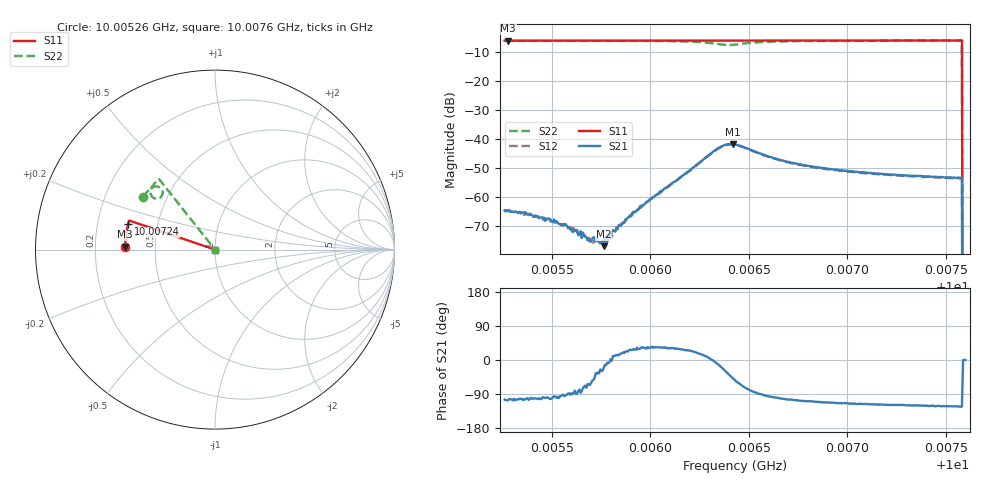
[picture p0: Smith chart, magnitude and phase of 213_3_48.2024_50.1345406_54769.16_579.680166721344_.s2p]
#  HZ  S  RI  R  50.00
! Rohde & Schwarz Vector Network Analyzer
! Rohde-Schwarz,ZNB20-2Port,1311601062101988,3.16
! Created: UTC 3/20/2024, 11:45:38 AM
! freq[Hz]  re:S11  im:S11  re:S21  im:S21  re:S12  im:S12  re:S22  im:S22
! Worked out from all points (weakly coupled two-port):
!   401 points, 10.00526 GHz to 10.0076 GHz, reference 50 ohm
!   highest |S21| = -41.61 dB at 10.00642 GHz (marker M1); lowest = -76.8 dB at 10.00576 GHz (marker M2)
!   lowest |S11| = -6.0 dB at 10.00528 GHz (marker M3), VSWR 3.00, Z = 16.7 + j0.693 ohm
!   |S11| at or under -10 dB: 10.00758 GHz to end of sweep
!   |S22| runs from - to -6.0 dB; largest |S21 - S12| = 0.00052
!   S11 on the Smith chart (normalised r, x): 10.00526 GHz: 0.33, +0.01; 10.00724 GHz: 0.34, +0.13; 10.0076 GHz: 1.00, +0.00
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1.0005261e10  -0.5 0.0145  -0.000151 -0.00058  -0.000108 -0.000586  -0.3997 0.2933
1.0005278e10  -0.4999 0.0156  -0.000168 -0.000572  -0.000136 -0.000562  -0.3988 0.2943
1.0005483e10  -0.4998 0.0291  -7.13e-05 -0.000426  -7.65e-05 -0.000436  -0.3903 0.3067
1.0005565e10  -0.4996 0.0343  -3.24e-05 -0.000336  -3.31e-05 -0.000347  -0.3865 0.3116
1.0005652e10  -0.4994 0.0399  2.84e-05 -0.000197  4.42e-05 -0.00024  -0.3823 0.3168
1.0005688e10  -0.4993 0.0423  8.01e-05 -0.000163  0.000102 -0.000174  -0.3806 0.3191
1.0005705e10  -0.4994 0.0434  0.000109 -0.000154  0.000114 -0.000139  -0.3798 0.3202
1.0005752e10  -0.499 0.0464  0.000148 -8.28e-05  0.000146 -8.38e-05  -0.3771 0.3231
1.0005764e10  -0.499 0.047  0.000135 -5.24e-05  0.000165 -6.78e-05  -0.3765 0.3238
1.000581e10  -0.4987 0.0501  0.000269 4.85e-05  0.000223 2.07e-05  -0.3738 0.3268
1.000584e10  -0.4987 0.0521  0.000326 6.95e-05  0.000285 0.000103  -0.372 0.3287
1.000588e10  -0.4984 0.0548  0.00039 0.000169  0.000379 0.000184  -0.3692 0.3314
1.0006044e10  -0.4974 0.0653  0.00101 0.000663  0.000931 0.000676  -0.3558 0.3428
1.0006336e10  -0.4946 0.0841  0.00671 -0.00098  0.00661 -0.000644  -0.2932 0.3284
1.0006418e10  -0.4939 0.0886  0.00555 -0.00618  0.00575 -0.00574  -0.3123 0.2857
1.000643e10  -0.4938 0.0894  0.00486 -0.00658  0.00509 -0.00621  -0.319 0.2838
1.0006658e10  -0.4922 0.1039  -0.000848 -0.00437  -0.000638 -0.00431  -0.3589 0.3287
1.0006822e10  -0.4902 0.1145  -0.00112 -0.00323  -0.000987 -0.00319  -0.3516 0.3477
1.0007213e10  -0.4845 0.1392  -0.00118 -0.00219  -0.00106 -0.0022  -0.3311 0.3746
1.0007242e10  -0.4843 0.141  -0.00117 -0.00217  -0.00104 -0.00218  -0.3296 0.3763
1.000757e10  -0.4784 0.1614  -0.0012 -0.00183  -0.00106 -0.00185  -0.3129 0.3929
1.0007599e10  0 0  0 0  0 0  0 0
